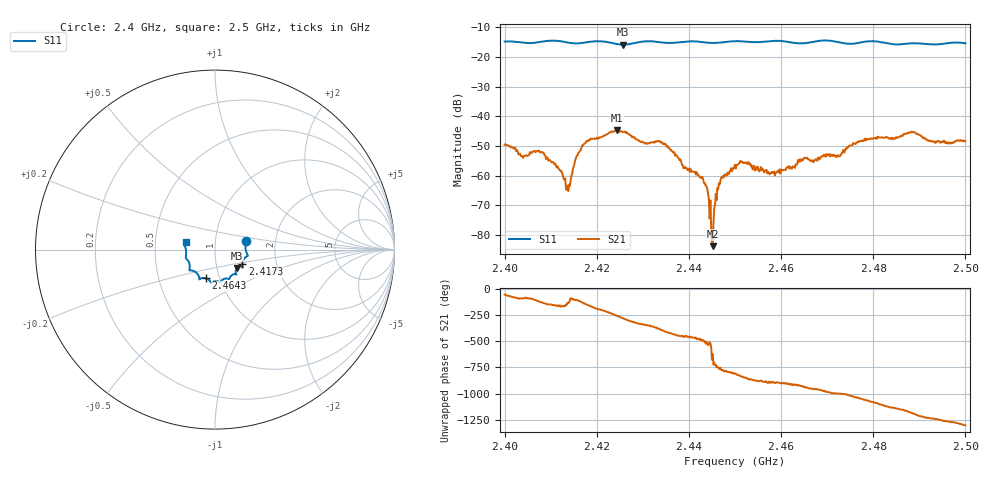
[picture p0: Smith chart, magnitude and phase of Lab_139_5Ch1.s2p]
# Hz S RI R 50
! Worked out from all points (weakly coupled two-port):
!   601 points, 2.4 GHz to 2.5 GHz, reference 50 ohm
!   highest |S21| = -44.75 dB at 2.4243 GHz (marker M1); lowest = -83.7 dB at 2.4452 GHz (marker M2)
!   lowest |S11| = -15.9 dB at 2.4257 GHz (marker M3), VSWR 1.38, Z = 62.4 - j13.1 ohm
!   |S11| at or under -10 dB: start of sweep to end of sweep
!   S12 and S22 are empty: the file has one direction only
!   S11 on the Smith chart (normalised r, x): 2.4 GHz: 1.41, +0.14; 2.4173 GHz: 1.34, -0.23; 2.4643 GHz: 0.86, -0.28; 2.5 GHz: 0.72, +0.06
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2.4e9  0.1736 0.0495  0.00202 -0.00264  0 0  0 0
2.404e9  0.1714 0.0251  1.46e-05 -0.00199  0 0  0 0
2.408e9  0.1779 -0.0212  -0.00144 -0.00202  0 0  0 0
2.412e9  0.1799 -0.0365  -0.00115 -0.000504  0 0  0 0
2.413833e9  0.1669 -0.0453  -0.000362 -0.000414  0 0  0 0
2.416667e9  0.1528 -0.075  -0.00166 -0.0024  0 0  0 0
2.417333e9  0.152 -0.0824  -0.00254 -0.00235  0 0  0 0
2.424333e9  0.1332 -0.0949  -0.00151 0.00559  0 0  0 0
2.425667e9  0.1223 -0.1023  0.000927 0.00534  0 0  0 0
2.433333e9  0.1126 -0.1364  0.00354 -0.00128  0 0  0 0
2.443e9  0.0698 -0.1618  -0.000556 -0.000749  0 0  0 0
2.443833e9  0.0643 -0.1607  -0.000565 -0.000345  0 0  0 0
2.444833e9  0.0565 -0.1615  -0.000117 3.96e-05  0 0  0 0
2.445167e9  0.0539 -0.1621  -1.05e-05 6.43e-05  0 0  0 0
2.446667e9  0.0422 -0.1677  0.000483 -0.00052  0 0  0 0
2.45e9  0.0294 -0.1808  -3.42e-05 -0.00153  0 0  0 0
2.458333e9  -0.0197 -0.1841  -0.0011 -0.000193  0 0  0 0
2.464333e9  -0.0503 -0.1603  -0.0017 0.000828  0 0  0 0
2.466667e9  -0.0763 -0.1594  -0.00103 0.0015  0 0  0 0
2.483333e9  -0.1407 -0.0895  0.00283 -0.00326  0 0  0 0
2.4885e9  -0.1615 -0.0487  -0.00174 -0.00504  0 0  0 0
2.5e9  -0.1635 0.0416  -0.00263 0.00272  0 0  0 0
